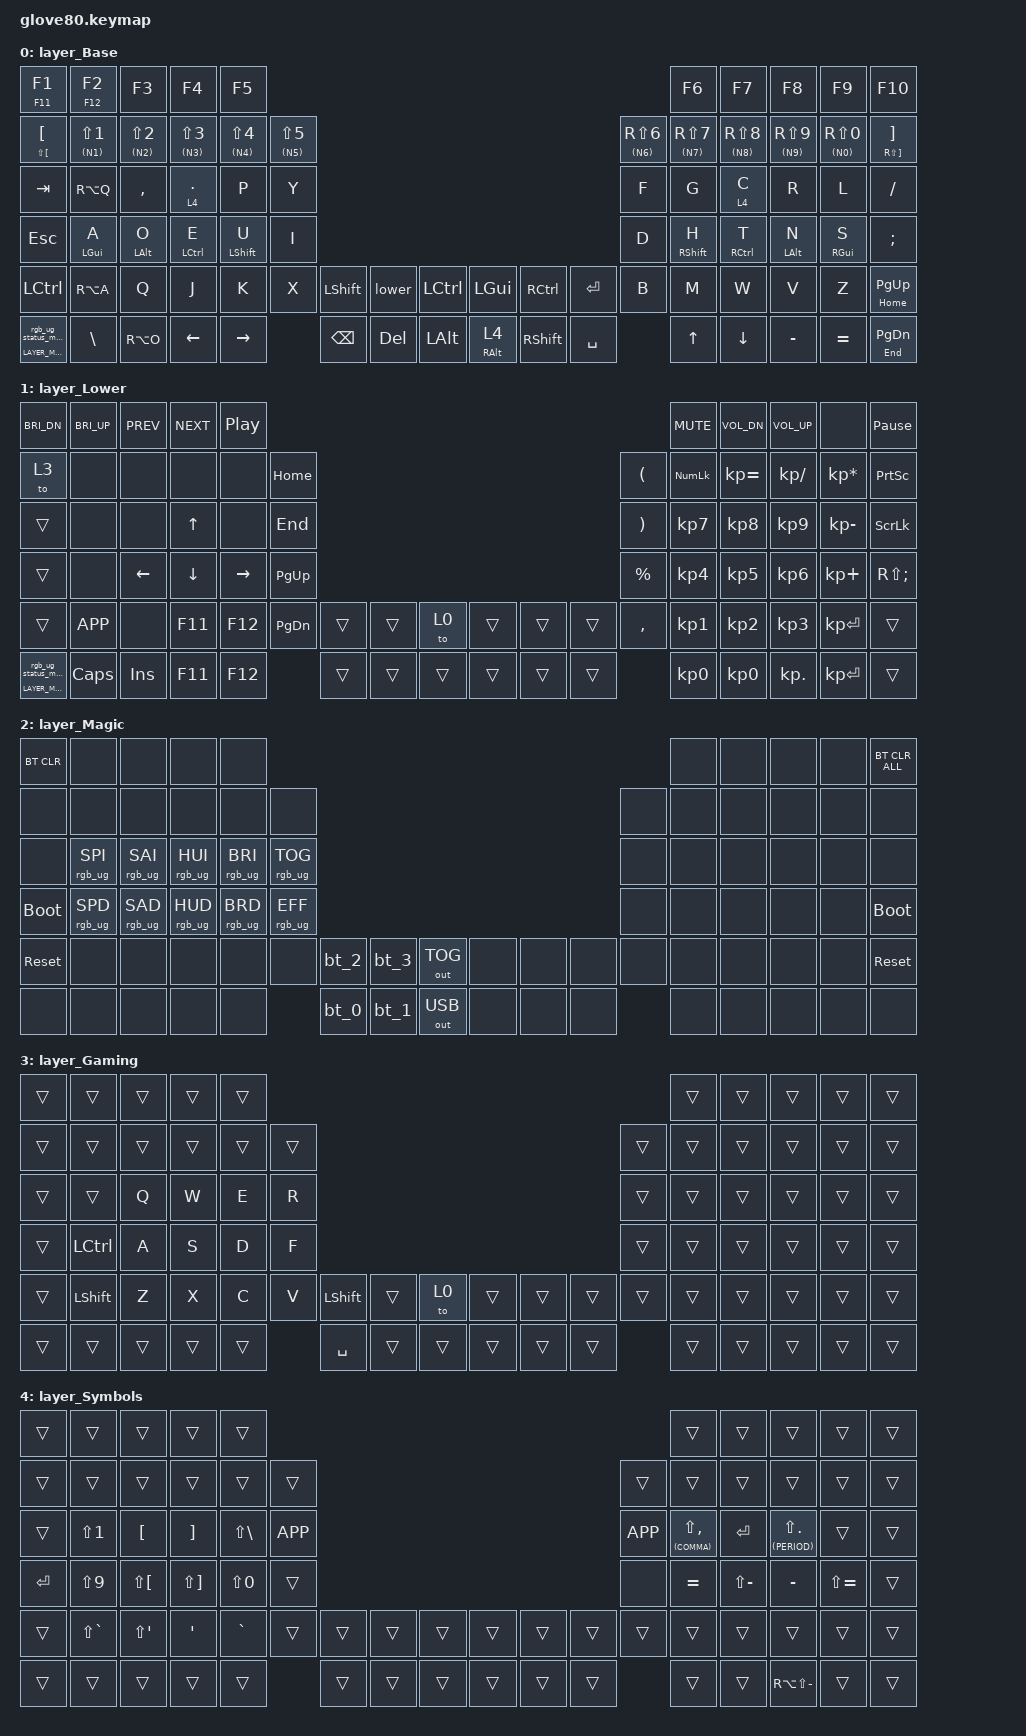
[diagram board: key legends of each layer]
/*
 * Copyright (c) 2020 The ZMK Contributors
 * Copyright (c) 2023 Innaworks Development Limited, trading as MoErgo
 *
 * SPDX-License-Identifier: MIT
 */
/* THIS FILE WAS GENERATED BY GLOVE80 LAYOUT EDITOR
 *
 * This file was generated automatically. You may or may not want to
 * edit it directly.
 */
/* Include all behaviour includes needed */

#include <behaviors.dtsi>
#include <dt-bindings/zmk/bt.h>
#include <dt-bindings/zmk/keys.h>
#include <dt-bindings/zmk/outputs.h>
#include <dt-bindings/zmk/rgb.h>

/* Automatically generated layer name #define */

#define LAYER_Base 0
#define LAYER_Lower 1
#define LAYER_Magic 2
#define LAYER_Gaming 3
#define LAYER_Symbols 4

/ {
    /* Glove80 system behavior & macros */

    behaviors {
        // For the "layer" key, it'd nice to be able to use it as either a shift or a toggle.
        // Configure it as a tap dance, so the first tap (or hold) is a &mo and the second tap is a &to

        lower: lower {
            compatible = "zmk,behavior-tap-dance";
            label = "LAYER_TAP_DANCE";
            #binding-cells = <0>;
            tapping-term-ms = <200>;
            bindings = <&mo LAYER_Lower>, <&to LAYER_Lower>;
        };

        symbol_gr: symbol_gr {
            compatible = "zmk,behavior-hold-tap";
            label = "SYMBOL_GR";
            bindings = <&kp>, <&sl>;

            #binding-cells = <2>;
            tapping-term-ms = <200>;
            flavor = "balanced";
        };

        auto_shift: auto_shift {
            compatible = "zmk,behavior-hold-tap";
            label = "AUTO_SHIFT";
            bindings = <&kp>, <&kp>;

            #binding-cells = <2>;
            tapping-term-ms = <135>;
            flavor = "tap-preferred";
            quick-tap-ms = <(-1)>;
            require-prior-idle-ms = <100>;
        };

        hrm_left: hrm_left {
            compatible = "zmk,behavior-hold-tap";
            label = "HRM_LEFT";
            bindings = <&kp>, <&kp>;

            #binding-cells = <2>;
            tapping-term-ms = <200>;
            require-prior-idle-ms = <125>;
            flavor = "balanced";
            hold-trigger-key-positions = <5 6 7 8 9 16 17 18 19 20 21 28 29 30 31 32 33 40 41 42 43 44 45 58 59 60 61 62 63 75 76 77 78 79 74 73>;
            hold-trigger-on-release;
        };

        hrm_right: hrm_right {
            compatible = "zmk,behavior-hold-tap";
            label = "HRM_RIGHT";
            bindings = <&kp>, <&kp>;

            #binding-cells = <2>;
            tapping-term-ms = <200>;
            require-prior-idle-ms = <125>;
            flavor = "balanced";
            hold-trigger-key-positions = <0 1 2 3 4 10 11 12 13 14 15 22 23 24 25 26 27 34 35 36 37 38 39 46 47 48 49 50 51 64 65 66 67 68 69 70>;
            hold-trigger-on-release;
        };

        tap_layer_right: tap_layer_right {
            compatible = "zmk,behavior-hold-tap";
            label = "TAP_LAYER_RIGHT";
            bindings = <&mo>, <&kp>;

            #binding-cells = <2>;
            tapping-term-ms = <200>;
            flavor = "tap-preferred";
            hold-trigger-key-positions = <0 1 2 3 4 10 11 12 13 14 15 22 23 24 25 26 27 34 35 36 37 38 39 46 47 48 49 50 51 64 65 66 67 68>;
            require-prior-idle-ms = <75>;
        };

        tap_layer_left: tap_layer_left {
            compatible = "zmk,behavior-hold-tap";
            label = "TAP_LAYER_LEFT";
            bindings = <&mo>, <&kp>;

            #binding-cells = <2>;
            tapping-term-ms = <200>;
            flavor = "tap-preferred";
            require-prior-idle-ms = <75>;
            hold-trigger-key-positions = <5 6 5 6 7 8 9 17 18 19 20 21 29 30 31 32 33 41 42 43 44 45 59 60 61 62 63 75 76 77 78 79 16 28 40 58>;
        };

        hrm_left_fast: hrm_left_fast {
            compatible = "zmk,behavior-hold-tap";
            label = "HRM_LEFT_FAST";
            bindings = <&kp>, <&kp>;

            #binding-cells = <2>;
            tapping-term-ms = <190>;
            require-prior-idle-ms = <75>;
            flavor = "balanced";
            hold-trigger-key-positions = <5 6 7 8 9 16 17 18 19 20 21 28 29 30 31 32 33 40 41 42 43 44 45 58 59 60 61 62 63 75 76 77 78 79 74 73>;
            hold-trigger-on-release;
        };

        hrm_right_fast: hrm_right_fast {
            compatible = "zmk,behavior-hold-tap";
            label = "HRM_RIGHT_FAST";
            bindings = <&kp>, <&kp>;

            #binding-cells = <2>;
            tapping-term-ms = <190>;
            require-prior-idle-ms = <75>;
            flavor = "balanced";
            hold-trigger-key-positions = <0 1 2 3 4 10 11 12 13 14 15 22 23 24 25 26 27 34 35 36 37 38 39 46 47 48 49 50 51 64 65 66 67 68 69 70>;
            hold-trigger-on-release;
        };
    };
};

/ {
    macros {
        rgb_ug_status_macro: rgb_ug_status_macro {
            label = "RGB_UG_STATUS";
            compatible = "zmk,behavior-macro";
            #binding-cells = <0>;
            bindings = <&rgb_ug RGB_STATUS>;
        };

        bt_0: bt_0 {
            label = "BT_0";
            compatible = "zmk,behavior-macro";
            #binding-cells = <0>;
            bindings = <&out OUT_BLE &bt BT_SEL 0>;
        };

        bt_1: bt_1 {
            label = "BT_1";
            compatible = "zmk,behavior-macro";
            #binding-cells = <0>;
            bindings = <&out OUT_BLE &bt BT_SEL 1>;
        };

        bt_2: bt_2 {
            label = "BT_2";
            compatible = "zmk,behavior-macro";
            #binding-cells = <0>;
            bindings = <&out OUT_BLE &bt BT_SEL 2>;
        };

        bt_3: bt_3 {
            label = "BT_3";
            compatible = "zmk,behavior-macro";
            #binding-cells = <0>;
            bindings = <&out OUT_BLE &bt BT_SEL 3>;
        };
    };
};

/ {
    magic: magic {
        compatible = "zmk,behavior-hold-tap";
        label = "MAGIC_HOLD_TAP";
        #binding-cells = <2>;
        flavor = "tap-preferred";
        tapping-term-ms = <200>;
        bindings = <&mo>, <&rgb_ug_status_macro>;
    };
};

/* #define for key positions */

#define POS_LH_T1 52
#define POS_LH_T2 53
#define POS_LH_T3 54
#define POS_LH_T4 69
#define POS_LH_T5 70
#define POS_LH_T6 71
#define POS_LH_C1R2 15
#define POS_LH_C1R3 27
#define POS_LH_C1R4 39
#define POS_LH_C1R5 51
#define POS_LH_C2R1 4
#define POS_LH_C2R2 14
#define POS_LH_C2R3 26
#define POS_LH_C2R4 38
#define POS_LH_C2R5 50
#define POS_LH_C2R6 68
#define POS_LH_C3R1 3
#define POS_LH_C3R2 13
#define POS_LH_C3R3 25
#define POS_LH_C3R4 37
#define POS_LH_C3R5 49
#define POS_LH_C3R6 67
#define POS_LH_C4R1 2
#define POS_LH_C4R2 12
#define POS_LH_C4R3 24
#define POS_LH_C4R4 36
#define POS_LH_C4R5 48
#define POS_LH_C4R6 66
#define POS_LH_C5R1 1
#define POS_LH_C5R2 11
#define POS_LH_C5R3 23
#define POS_LH_C5R4 35
#define POS_LH_C5R5 47
#define POS_LH_C5R6 65
#define POS_LH_C6R1 0
#define POS_LH_C6R2 10
#define POS_LH_C6R3 22
#define POS_LH_C6R4 34
#define POS_LH_C6R5 46
#define POS_LH_C6R6 64
#define POS_RH_T1 57
#define POS_RH_T2 56
#define POS_RH_T3 55
#define POS_RH_T4 74
#define POS_RH_T5 73
#define POS_RH_T6 72
#define POS_RH_C1R2 16
#define POS_RH_C1R3 28
#define POS_RH_C1R4 40
#define POS_RH_C1R5 58
#define POS_RH_C2R1 5
#define POS_RH_C2R2 17
#define POS_RH_C2R3 29
#define POS_RH_C2R4 41
#define POS_RH_C2R5 59
#define POS_RH_C2R6 75
#define POS_RH_C3R1 6
#define POS_RH_C3R2 18
#define POS_RH_C3R3 30
#define POS_RH_C3R4 42
#define POS_RH_C3R5 60
#define POS_RH_C3R6 76
#define POS_RH_C4R1 7
#define POS_RH_C4R2 19
#define POS_RH_C4R3 31
#define POS_RH_C4R4 43
#define POS_RH_C4R5 61
#define POS_RH_C4R6 77
#define POS_RH_C5R1 8
#define POS_RH_C5R2 20
#define POS_RH_C5R3 32
#define POS_RH_C5R4 44
#define POS_RH_C5R5 62
#define POS_RH_C5R6 78
#define POS_RH_C6R1 9
#define POS_RH_C6R2 21
#define POS_RH_C6R3 33
#define POS_RH_C6R4 45
#define POS_RH_C6R5 63
#define POS_RH_C6R6 79

/* Custom Defined Behaviors */

/ {
    macros {
        quote_macro: quote_macro {
            label = "quote_macro";
            compatible = "zmk,behavior-macro";
            #binding-cells = <0>;
            wait-ms = <40>;
            tap-ms = <40>;
            bindings = <&kp SINGLE_QUOTE &kp SPACE>;
        };

        double_quote_macro: double_quote_macro {
            compatible = "zmk,behavior-macro";
            #binding-cells = <0>;
            bindings = <&kp LS(SINGLE_QUOTE) &kp SPACE>;
            label = "DOUBLE_QUOTE_MACRO";
        };

        grave_macro: grave_macro {
            compatible = "zmk,behavior-macro";
            #binding-cells = <0>;
            bindings = <&kp GRAVE &kp SPACE>;
            label = "GRAVE_MACRO";
        };

        tilde_macro: tilde_macro {
            compatible = "zmk,behavior-macro";
            #binding-cells = <0>;
            bindings = <&kp LS(GRAVE) &kp SPACE>;
            label = "TILDE_MACRO";
        };
    };
};

/* Automatically generated keymap */

/ {
    behaviors {
    };

    keymap {
        compatible = "zmk,keymap";

        layer_Base {
            bindings = <
&auto_shift F11 F1                         &auto_shift F12 F2       &kp F3                   &kp F4                    &kp F5                                                                                                                                                                            &kp F6                         &kp F7                      &kp F8                   &kp F9                   &kp F10
&auto_shift LS(LEFT_BRACKET) LEFT_BRACKET  &auto_shift (N1) LS(N1)  &auto_shift (N2) LS(N2)  &auto_shift (N3) LS(N3)   &auto_shift (N4) LS(N4)      &auto_shift (N5) LS(N5)                                                                                                     &auto_shift (N6) RS(N6)  &auto_shift (N7) RS(N7)        &auto_shift (N8) RS(N8)     &auto_shift (N9) RS(N9)  &auto_shift (N0) RS(N0)  &auto_shift RS(RIGHT_BRACKET) RIGHT_BRACKET
&kp TAB                                    &kp RA(Q)                &kp COMMA                &tap_layer_left 4 DOT     &kp P                        &kp Y                                                                                                                       &kp F                    &kp G                          &tap_layer_right 4 C        &kp R                    &kp L                    &kp FSLH
&kp ESCAPE                                 &hrm_left LEFT_GUI A     &hrm_left LEFT_ALT O     &hrm_left LEFT_CONTROL E  &hrm_left_fast LEFT_SHIFT U  &kp I                                                                                                                       &kp D                    &hrm_right_fast RIGHT_SHIFT H  &hrm_right RIGHT_CONTROL T  &hrm_right LEFT_ALT N    &hrm_right RIGHT_GUI S   &kp SEMI
&kp LEFT_CONTROL                           &kp RA(A)                &kp Q                    &kp J                     &kp K                        &kp X                    &kp LEFT_SHIFT  &lower   &kp LEFT_CONTROL    &kp LGUI                &kp RIGHT_CONTROL  &kp ENTER  &kp B                    &kp M                          &kp W                       &kp V                    &kp Z                    &auto_shift HOME PAGE_UP
&magic LAYER_Magic 0                       &kp BSLH                 &kp RA(O)                &kp LEFT                  &kp RIGHT                                             &kp BSPC        &kp DEL  &kp LALT            &symbol_gr RIGHT_ALT 4  &kp RIGHT_SHIFT    &kp SPACE                           &kp UP                         &kp DOWN                    &kp MINUS                &kp EQUAL                &auto_shift END PAGE_DOWN
            >;
        };

        layer_Lower {
            bindings = <
&kp C_BRI_DN          &kp C_BRI_UP  &kp C_PREV      &kp C_NEXT      &kp C_PP                                                                                             &kp C_MUTE  &kp C_VOL_DN  &kp C_VOL_UP  &none            &kp PAUSE_BREAK
&to 3                 &none         &none           &none           &none            &kp HOME                                                     &kp LEFT_PARENTHESIS   &kp KP_NUM  &kp KP_EQUAL  &kp KP_SLASH  &kp KP_MULTIPLY  &kp PRINTSCREEN
&trans                &none         &none           &kp UP_ARROW    &none            &kp END                                                      &kp RIGHT_PARENTHESIS  &kp KP_N7   &kp KP_N8     &kp KP_N9     &kp KP_MINUS     &kp SCROLLLOCK
&trans                &none         &kp LEFT_ARROW  &kp DOWN_ARROW  &kp RIGHT_ARROW  &kp PG_UP                                                    &kp PERCENT            &kp KP_N4   &kp KP_N5     &kp KP_N6     &kp KP_PLUS      &kp RS(SEMI)
&trans                &kp K_APP     &none           &kp F11         &kp F12          &kp PG_DN  &trans  &trans  &to 0     &trans  &trans  &trans  &kp COMMA              &kp KP_N1   &kp KP_N2     &kp KP_N3     &kp KP_ENTER     &trans
&magic LAYER_Magic 0  &kp CAPS      &kp INS         &kp F11         &kp F12                     &trans  &trans  &trans    &trans  &trans  &trans                         &kp KP_N0   &kp KP_N0     &kp KP_DOT    &kp KP_ENTER     &trans
            >;
        };

        layer_Magic {
            bindings = <
&bt BT_CLR   &none            &none            &none            &none                                                                                       &none  &none  &none  &none  &bt BT_CLR_ALL
&none        &none            &none            &none            &none            &none                                                               &none  &none  &none  &none  &none  &none
&none        &rgb_ug RGB_SPI  &rgb_ug RGB_SAI  &rgb_ug RGB_HUI  &rgb_ug RGB_BRI  &rgb_ug RGB_TOG                                                     &none  &none  &none  &none  &none  &none
&bootloader  &rgb_ug RGB_SPD  &rgb_ug RGB_SAD  &rgb_ug RGB_HUD  &rgb_ug RGB_BRD  &rgb_ug RGB_EFF                                                     &none  &none  &none  &none  &none  &bootloader
&sys_reset   &none            &none            &none            &none            &none            &bt_2  &bt_3  &out OUT_TOG    &none  &none  &none  &none  &none  &none  &none  &none  &sys_reset
&none        &none            &none            &none            &none                             &bt_0  &bt_1  &out OUT_USB    &none  &none  &none         &none  &none  &none  &none  &none
            >;
        };

        layer_Gaming {
            bindings = <
&trans  &trans            &trans  &trans  &trans                                                                            &trans  &trans  &trans  &trans  &trans
&trans  &trans            &trans  &trans  &trans  &trans                                                            &trans  &trans  &trans  &trans  &trans  &trans
&trans  &trans            &kp Q   &kp W   &kp E   &kp R                                                             &trans  &trans  &trans  &trans  &trans  &trans
&trans  &kp LEFT_CONTROL  &kp A   &kp S   &kp D   &kp F                                                             &trans  &trans  &trans  &trans  &trans  &trans
&trans  &kp LEFT_SHIFT    &kp Z   &kp X   &kp C   &kp V   &kp LEFT_SHIFT  &trans  &to 0     &trans  &trans  &trans  &trans  &trans  &trans  &trans  &trans  &trans
&trans  &trans            &trans  &trans  &trans          &kp SPACE       &trans  &trans    &trans  &trans  &trans          &trans  &trans  &trans  &trans  &trans
            >;
        };

        layer_Symbols {
            bindings = <
&trans     &trans         &trans                &trans                 &trans                                                                                     &trans                         &trans         &trans                           &trans         &trans
&trans     &trans         &trans                &trans                 &trans             &trans                                                       &trans     &trans                         &trans         &trans                           &trans         &trans
&trans     &kp LS(N1)     &kp LEFT_BRACKET      &kp RIGHT_BRACKET      &kp LS(BACKSLASH)  &kp K_APP                                                    &kp K_APP  &auto_shift (COMMA) LS(COMMA)  &kp ENTER      &auto_shift (PERIOD) LS(PERIOD)  &trans         &trans
&kp ENTER  &kp LS(N9)     &kp LS(LEFT_BRACKET)  &kp LS(RIGHT_BRACKET)  &kp LS(N0)         &trans                                                       &none      &kp EQUAL                      &kp LS(MINUS)  &kp MINUS                        &kp LS(EQUAL)  &trans
&trans     &kp LS(GRAVE)  &kp LS(SINGLE_QUOTE)  &kp SINGLE_QUOTE       &kp GRAVE          &trans     &trans  &trans  &trans    &trans  &trans  &trans  &trans     &trans                         &trans         &trans                           &trans         &trans
&trans     &trans         &trans                &trans                 &trans                        &trans  &trans  &trans    &trans  &trans  &trans             &trans                         &trans         &kp RA(LS(MINUS))                &trans         &trans
            >;
        };
    };
};
